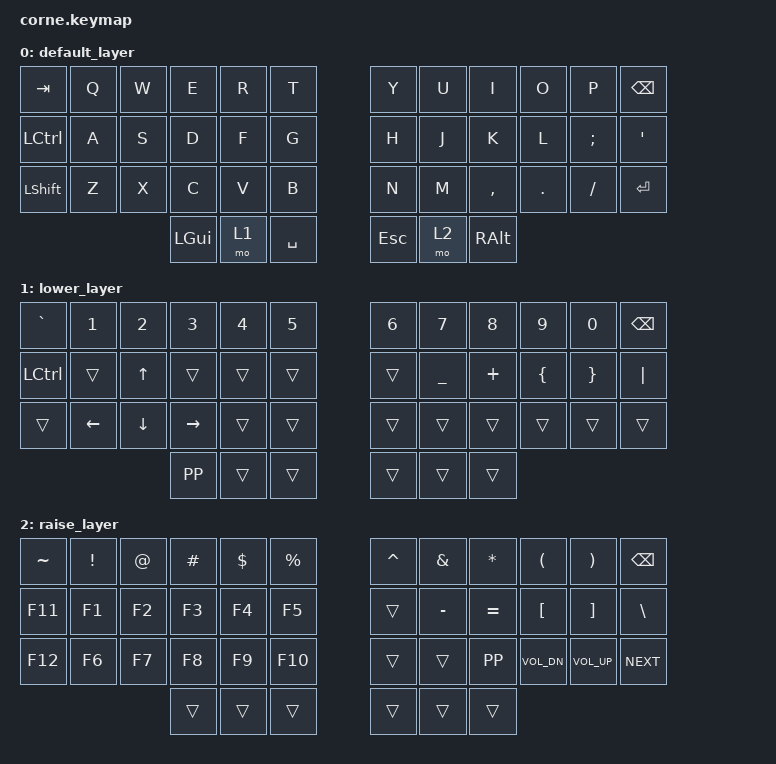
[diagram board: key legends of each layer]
/*
 * Copyright (c) 2020 The ZMK Contributors
 *
 * SPDX-License-Identifier: MIT
 */

#include <behaviors.dtsi>
#include <dt-bindings/zmk/keys.h>
#include <dt-bindings/zmk/bt.h>

/ {
        keymap {
                compatible = "zmk,keymap";

                default_layer {
// -----------------------------------------------------------------------------------------
// |  TAB |  Q  |  W  |  E  |  R  |  T  |   |  Y  |  U   |  I  |  O  |  P  | BSPC |
// | CTRL |  A  |  S  |  D  |  F  |  G  |   |  H  |  J   |  K  |  L  |  ;  |  '   |
// | SHFT |  Z  |  X  |  C  |  V  |  B  |   |  N  |  M   |  ,  |  .  |  /  | ETR  |
//                    | GUI | LWR | SPC |   | ESC | RSE  | ALT |
                        bindings = <
   &kp TAB   &kp Q &kp W &kp E &kp R &kp T   &kp Y &kp U  &kp I     &kp O   &kp P    &kp BSPC
   &kp LCTRL &kp A &kp S &kp D &kp F &kp G   &kp H &kp J  &kp K     &kp L   &kp SEMI &kp SQT
   &kp LSHFT &kp Z &kp X &kp C &kp V &kp B   &kp N &kp M  &kp COMMA &kp DOT &kp FSLH &kp RET
                  &kp LGUI &mo 1 &kp SPACE   &kp ESC &mo 2 &kp RALT
                        >;
                };
                lower_layer {
// -----------------------------------------------------------------------------------------
// |  `   |  1  |  2   |  3   |  4  |  5  |   |  6  |  7  |  8  |  9  |  0  | BSPC |
// | CTRL |     | UP   |      |     |     |   |     |  _  |  +  |  {  |  }  |  "|" |
// |      | LFT | DOWN | RGT  |     |     |   |     |     |     |     |     |      |
//                    | pl/ps |     |     |   |     |     |     |
                        bindings = <
   &kp GRAVE &kp N1   &kp N2   &kp N3    &kp N4   &kp N5      &kp N6   &kp N7   &kp N8 &kp N9    &kp N0 &kp BSPC
   &kp LCTRL &trans   &kp UP   &trans    &trans   &trans      &trans   &kp UNDER &kp PLUS  &kp LBRC  &kp RBRC &kp PIPE
   &trans    &kp LEFT &kp DOWN &kp RIGHT &trans   &trans      &trans   &trans    &trans    &trans    &trans   &trans  
                        &kp K_PP     &trans       &trans      &trans  &trans   &trans
                        >;
                };

                raise_layer {
// -----------------------------------------------------------------------------------------
// |  ~  |  !  |  @  |  #  |  $  |  %  |   |  ^  |  &  |  *  |  (  |  )  | BSPC |
// | F11 | F1  | F2  |  F3 | F4  |  F5 |   |     |  -  |  =  |  [  |  ]  |  \  | 
// | F12 | F6  | F7  | F8  |  F9 | F10 |   |     |     |pl/ps| VOL- |VOL+ | NXT |
//                    |    |     |    |    |     |     |     |
                        bindings = <
   &kp  TILDE  &kp EXCL &kp AT &kp HASH &kp DLLR &kp PRCNT   &kp CARET &kp AMPS  &kp ASTRK &kp LPAR &kp RPAR &kp BSPC
   &kp F11 &kp F1   &kp F2 &kp F3   &kp F4   &kp F5          &trans &kp MINUS &kp EQUAL &kp LBKT  &kp RBKT &kp BSLH 
   &kp F12 &kp F6   &kp F7 &kp F8   &kp F9   &kp F10         &trans &trans    &kp K_PP    &kp K_VOL_DN   &kp K_VOL_UP  &kp K_NEXT
                             &trans &trans   &trans           &trans   &trans    &trans
                        >;
                };
        };
};
